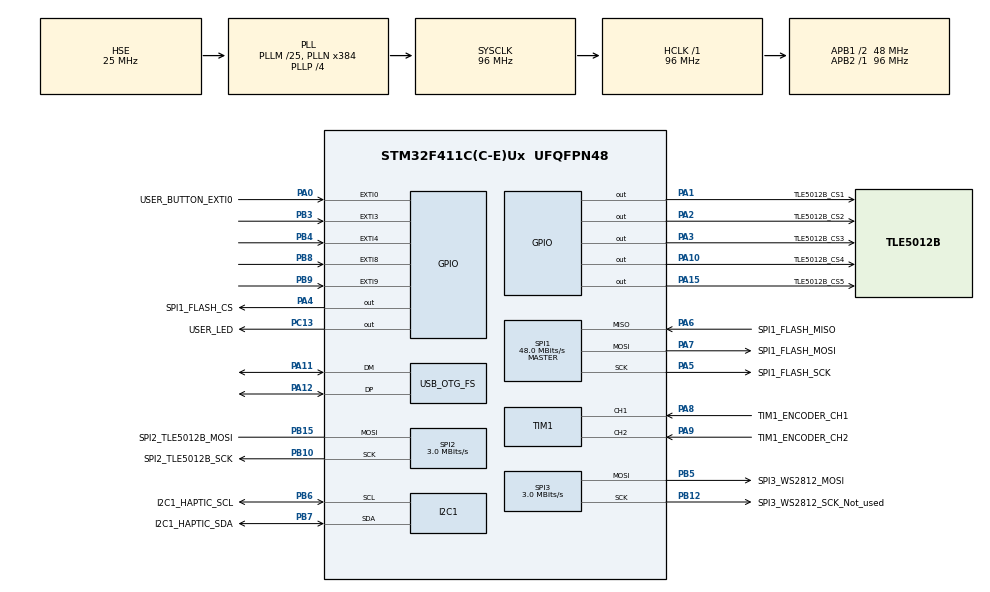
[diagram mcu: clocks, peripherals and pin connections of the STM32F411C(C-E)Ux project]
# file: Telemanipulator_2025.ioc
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Dma.Request0=SPI3_TX
Dma.SPI3_TX.0.Direction=DMA_MEMORY_TO_PERIPH
Dma.SPI3_TX.0.FIFOMode=DMA_FIFOMODE_DISABLE
Dma.SPI3_TX.0.Instance=DMA1_Stream5
Dma.SPI3_TX.0.MemDataAlignment=DMA_MDATAALIGN_BYTE
Dma.SPI3_TX.0.MemInc=DMA_MINC_ENABLE
Dma.SPI3_TX.0.Mode=DMA_NORMAL
Dma.SPI3_TX.0.PeriphDataAlignment=DMA_PDATAALIGN_BYTE
Dma.SPI3_TX.0.PeriphInc=DMA_PINC_DISABLE
Dma.SPI3_TX.0.Priority=DMA_PRIORITY_HIGH
FREERTOS.Tasks01=defaultTask,24,128,StartDefaultTask,Default,NULL,Dynamic,NULL,NULL;hapticTask,24,128,StartHapticTask,Default,NULL,Dynamic,NULL,NULL;commTask,24,128,StartCommTask,Default,NULL,Dynamic,NULL,NULL;sensorTask,24,128,StartSensorTask,Default,NULL,Dynamic,NULL,NULL;ledTask,32,128,StartLedTask,Default,NULL,Dynamic,NULL,NULL
FREERTOS.configUSE_NEWLIB_REENTRANT=1
Mcu.Family=STM32F4
Mcu.Name=STM32F411C(C-E)Ux
Mcu.Package=UFQFPN48
NVIC.DMA1_Stream5_IRQn=true\:5\:0\:false\:false\:true\:true\:false\:true\:true
NVIC.EXTI0_IRQn=true\:5\:0\:false\:false\:true\:true\:true\:true\:true
NVIC.EXTI3_IRQn=true\:5\:0\:false\:false\:true\:true\:true\:true\:true
NVIC.EXTI4_IRQn=true\:5\:0\:false\:false\:true\:true\:true\:true\:true
NVIC.EXTI9_5_IRQn=true\:5\:0\:false\:false\:true\:true\:true\:true\:true
NVIC.OTG_FS_IRQn=true\:5\:0\:false\:false\:true\:true\:false\:true\:true
NVIC.PriorityGroup=NVIC_PRIORITYGROUP_4
NVIC.TIM1_TRG_COM_TIM11_IRQn=true\:15\:0\:false\:false\:true\:false\:false\:true\:true
NVIC.TimeBase=TIM1_TRG_COM_TIM11_IRQn
NVIC.TimeBaseIP=TIM11
PA0-WKUP.GPIO_Label=USER_BUTTON_EXTI0
PA0-WKUP.GPIO_PuPd=GPIO_PULLUP
PA0-WKUP.Signal=GPXTI0
PA1.GPIO_Label=TLE5012B_CS1
PA1.Signal=GPIO_Output
PA10.GPIO_Label=TLE5012B_CS4
PA10.Signal=GPIO_Output
PA11.Mode=Device_Only
PA11.Signal=USB_OTG_FS_DM
PA12.Mode=Device_Only
PA12.Signal=USB_OTG_FS_DP
PA13.Mode=Serial_Wire
PA13.Signal=SYS_JTMS-SWDIO
PA14.Mode=Serial_Wire
PA14.Signal=SYS_JTCK-SWCLK
PA15.GPIO_Label=TLE5012B_CS5
PA15.Signal=GPIO_Output
PA2.GPIO_Label=TLE5012B_CS2
PA2.Signal=GPIO_Output
PA3.GPIO_Label=TLE5012B_CS3
PA3.Signal=GPIO_Output
PA4.GPIO_Label=SPI1_FLASH_CS
PA4.Signal=GPIO_Output
PA5.GPIO_Label=SPI1_FLASH_SCK
PA5.Mode=Full_Duplex_Master
PA5.Signal=SPI1_SCK
PA6.GPIO_Label=SPI1_FLASH_MISO
PA6.Mode=Full_Duplex_Master
PA6.Signal=SPI1_MISO
PA7.GPIO_Label=SPI1_FLASH_MOSI
PA7.Mode=Full_Duplex_Master
PA7.Signal=SPI1_MOSI
PA8.GPIO_Label=TIM1_ENCODER_CH1
PA8.GPIO_PuPd=GPIO_PULLUP
PA8.Signal=S_TIM1_CH1
PA9.GPIO_Label=TIM1_ENCODER_CH2
PA9.GPIO_PuPd=GPIO_PULLUP
PA9.Signal=S_TIM1_CH2
PB10.GPIO_Label=SPI2_TLE5012B_SCK
PB10.Mode=Simplex_Bidirectional_Master
PB10.Signal=SPI2_SCK
PB12.GPIO_Label=SPI3_WS2812_SCK_Not_used
PB12.Mode=TX_Only_Simplex_Unidirect_Master
PB12.Signal=SPI3_SCK
PB15.GPIO_Label=SPI2_TLE5012B_MOSI
PB15.Mode=Simplex_Bidirectional_Master
PB15.Signal=SPI2_MOSI
PB3.GPIO_ModeDefaultEXTI=GPIO_MODE_IT_FALLING
PB3.GPIO_PuPd=GPIO_PULLUP
PB3.Signal=GPXTI3
PB4.GPIO_ModeDefaultEXTI=GPIO_MODE_IT_FALLING
PB4.GPIO_PuPd=GPIO_PULLUP
PB4.Signal=GPXTI4
PB5.GPIO_Label=SPI3_WS2812_MOSI
PB5.Mode=TX_Only_Simplex_Unidirect_Master
PB5.Signal=SPI3_MOSI
PB6.GPIO_Label=I2C1_HAPTIC_SCL
PB6.Mode=I2C
PB6.Signal=I2C1_SCL
PB7.GPIO_Label=I2C1_HAPTIC_SDA
PB7.Mode=I2C
PB7.Signal=I2C1_SDA
PB8.GPIO_ModeDefaultEXTI=GPIO_MODE_IT_FALLING
PB8.GPIO_PuPd=GPIO_PULLUP
PB8.Signal=GPXTI8
PB9.GPIO_ModeDefaultEXTI=GPIO_MODE_IT_FALLING
PB9.GPIO_PuPd=GPIO_PULLUP
PB9.Signal=GPXTI9
PC13-ANTI_TAMP.GPIO_Label=USER_LED
PC13-ANTI_TAMP.Signal=GPIO_Output
PC14-OSC32_IN.Mode=LSE-External-Oscillator
PC14-OSC32_IN.Signal=RCC_OSC32_IN
PC15-OSC32_OUT.Mode=LSE-External-Oscillator
PC15-OSC32_OUT.Signal=RCC_OSC32_OUT
PH0\ -\ OSC_IN.Mode=HSE-External-Oscillator
PH0\ -\ OSC_IN.Signal=RCC_OSC_IN
PH1\ -\ OSC_OUT.Mode=HSE-External-Oscillator
PH1\ -\ OSC_OUT.Signal=RCC_OSC_OUT
ProjectManager.HeapSize=0x400
ProjectManager.StackSize=0x800
ProjectManager.TargetToolchain=STM32CubeIDE
RCC.48MHZClocksFreq_Value=48000000
RCC.AHBFreq_Value=96000000
RCC.APB1CLKDivider=RCC_HCLK_DIV2
RCC.APB1Freq_Value=48000000
RCC.APB1TimFreq_Value=96000000
RCC.APB2Freq_Value=96000000
RCC.APB2TimFreq_Value=96000000
RCC.CortexFreq_Value=96000000
RCC.HCLKFreq_Value=96000000
RCC.HSE_VALUE=25000000
RCC.HSI_VALUE=16000000
RCC.PLLM=25
RCC.PLLN=384
RCC.PLLP=RCC_PLLP_DIV4
RCC.PLLQ=8
RCC.RCC_RTC_Clock_Source=RCC_RTCCLKSOURCE_LSE
RCC.RCC_RTC_Clock_SourceVirtual=RCC_RTCCLKSOURCE_LSE
RCC.SYSCLKFreq_VALUE=96000000
RCC.SYSCLKSource=RCC_SYSCLKSOURCE_PLLCLK
RCC.VCOOutputFreq_Value=384000000
SH.S_TIM1_CH1.0=TIM1_CH1,Encoder_Interface
SH.S_TIM1_CH2.0=TIM1_CH2,Encoder_Interface
SPI1.BaudRatePrescaler=SPI_BAUDRATEPRESCALER_2
SPI1.CalculateBaudRate=48.0 MBits/s
SPI1.Direction=SPI_DIRECTION_2LINES
SPI1.Mode=SPI_MODE_MASTER
SPI1.VirtualType=VM_MASTER
SPI2.BaudRatePrescaler=SPI_BAUDRATEPRESCALER_16
SPI2.CLKPhase=SPI_PHASE_2EDGE
SPI2.CalculateBaudRate=3.0 MBits/s
SPI2.DataSize=SPI_DATASIZE_16BIT
SPI2.Direction=SPI_DIRECTION_1LINE
SPI2.Mode=SPI_MODE_MASTER
SPI2.VirtualType=VM_MASTER
SPI3.BaudRatePrescaler=SPI_BAUDRATEPRESCALER_16
SPI3.CalculateBaudRate=3.0 MBits/s
SPI3.Direction=SPI_DIRECTION_2LINES
SPI3.Mode=SPI_MODE_MASTER
SPI3.VirtualType=VM_MASTER
TIM1.EncoderMode=TIM_ENCODERMODE_TI12
TIM1.IC1Filter=3
TIM1.IC2Filter=3
USB_DEVICE.APP_RX_DATA_SIZE=1024
USB_DEVICE.APP_TX_DATA_SIZE=1024
USB_DEVICE.CLASS_NAME_FS=CDC
USB_DEVICE.VirtualMode=Cdc
USB_DEVICE.VirtualModeFS=Cdc_FS
USB_OTG_FS.VirtualMode=Device_Only
VP_FREERTOS_VS_CMSIS_V2.Mode=CMSIS_V2
VP_RTC_VS_RTC_Activate.Mode=RTC_Enabled
VP_SYS_VS_tim11.Mode=TIM11
VP_USB_DEVICE_VS_USB_DEVICE_CDC_FS.Mode=CDC_FS
board=custom

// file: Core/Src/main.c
/* USER CODE BEGIN Header */
/**
  ******************************************************************************
  * @file           : main.c
  * @brief          : Main program body
  ******************************************************************************
  * @attention
  *
  * Copyright (c) 2025 STMicroelectronics.
  * All rights reserved.
  *
  * This software is licensed under terms that can be found in the LICENSE file
  * in the root directory of this software component.
  * If no LICENSE file comes with this software, it is provided AS-IS.
  *
  ******************************************************************************
  */
/* USER CODE END Header */
#include "main.h"
#include "cmsis_os.h"
#include "usb_device.h"

/* USER CODE BEGIN Includes */
#include <stdbool.h>
#include <math.h>
#include "usbd_cdc_if.h"
#include "WS2812_Lib.h"
#include "DTek_TLE5012B.h"
#include "drv2605l.h"
/* USER CODE END Includes */

I2C_HandleTypeDef hi2c1;

RTC_HandleTypeDef hrtc;

SPI_HandleTypeDef hspi1;
SPI_HandleTypeDef hspi2;
SPI_HandleTypeDef hspi3;
DMA_HandleTypeDef hdma_spi3_tx;

TIM_HandleTypeDef htim1;

/* Definitions for defaultTask */
osThreadId_t defaultTaskHandle;
const osThreadAttr_t defaultTask_attributes = {
  .name = "defaultTask",
  .stack_size = 128 * 4,
  .priority = (osPriority_t) osPriorityNormal,
};
/* Definitions for hapticTask */
osThreadId_t hapticTaskHandle;
const osThreadAttr_t hapticTask_attributes = {
  .name = "hapticTask",
  .stack_size = 128 * 4,
  .priority = (osPriority_t) osPriorityNormal,
};
/* Definitions for commTask */
osThreadId_t commTaskHandle;
const osThreadAttr_t commTask_attributes = {
  .name = "commTask",
  .stack_size = 128 * 4,
  .priority = (osPriority_t) osPriorityNormal,
};
/* Definitions for sensorTask */
osThreadId_t sensorTaskHandle;
const osThreadAttr_t sensorTask_attributes = {
  .name = "sensorTask",
  .stack_size = 128 * 4,
  .priority = (osPriority_t) osPriorityNormal,
};
/* Definitions for ledTask */
osThreadId_t ledTaskHandle;
const osThreadAttr_t ledTask_attributes = {
  .name = "ledTask",
  .stack_size = 128 * 4,
  .priority = (osPriority_t) osPriorityAboveNormal,
};
/* USER CODE BEGIN PV */
char txBuf[APP_TX_DATA_SIZE];
char rxBuf[APP_RX_DATA_SIZE];
uint8_t receiveState = 0;
uint8_t ringLedMode = 0;

// Sensor communication
errorTypes checkError = NO_ERROR;
uint16_t errorCounter = 0;

// Joint angles
static double angle1_raw = 0.0;
static double angle2_raw = 0.0;
static double angle3_raw = 0.0;
static double angle4_raw = 0.0;
static double angle5_raw = 0.0;

static double angle1_temp = 0.0;
static double angle2_temp = 0.0;
static double angle3_temp = 0.0;
static double angle4_temp = 0.0;
static double angle5_temp = 0.0;

static double angle1 = 0.0;
static double angle2 = 0.0;
static double angle3 = 0.0;
static double angle4 = 0.0;
static double angle5 = 0.0;

static double offset1 = 0.4;
static double offset2 = 106.15;
static double offset3 = -160.9+90;
static double offset4 = -84.9;
static double offset5 = 0.73;

float tcp_x = 0.0;
float tcp_z = 0.0;

int16_t rawEncoder = 0;
int16_t rawEncoderPrev = 0;
static volatile uint32_t encoder_timestamp = 0;

static bool isConnected = false;

static uint8_t status_flag = 0; // 0: not connected, 1: control inactive 2: control active

static volatile uint32_t comm_timestamp = 0;
static volatile uint32_t comm_timeout = 1000; // ms

static uint8_t button1 = 0;
static uint8_t button2 = 0;
static uint8_t button3 = 0;
static uint8_t button4 = 0;

static int8_t speed = 100;

/* USER CODE END PV */

void SystemClock_Config(void);
static void MX_GPIO_Init(void);
static void MX_DMA_Init(void);
static void MX_I2C1_Init(void);
static void MX_RTC_Init(void);
static void MX_SPI1_Init(void);
static void MX_SPI2_Init(void);
static void MX_SPI3_Init(void);
static void MX_TIM1_Init(void);
void StartDefaultTask(void *argument);
void StartHapticTask(void *argument);
void StartCommTask(void *argument);
void StartSensorTask(void *argument);
void StartLedTask(void *argument);

int main(void)
{

  /* MCU Configuration--------------------------------------------------------*/

  /* Reset of all peripherals, Initializes the Flash interface and the Systick. */
  HAL_Init();

  /* Configure the system clock */
  SystemClock_Config();

  /* Initialize all configured peripherals */
  MX_GPIO_Init();
  MX_DMA_Init();
  MX_I2C1_Init();
  MX_RTC_Init();
  MX_SPI1_Init();
  MX_SPI2_Init();
  MX_SPI3_Init();
  MX_TIM1_Init();

  /* Init scheduler */
  osKernelInitialize();

  /* Create the thread(s) */
  /* creation of defaultTask */
  defaultTaskHandle = osThreadNew(StartDefaultTask, NULL, &defaultTask_attributes);

  /* creation of hapticTask */
  hapticTaskHandle = osThreadNew(StartHapticTask, NULL, &hapticTask_attributes);

  /* creation of commTask */
  commTaskHandle = osThreadNew(StartCommTask, NULL, &commTask_attributes);

  /* creation of sensorTask */
  sensorTaskHandle = osThreadNew(StartSensorTask, NULL, &sensorTask_attributes);

  /* creation of ledTask */
  ledTaskHandle = osThreadNew(StartLedTask, NULL, &ledTask_attributes);

  /* Start scheduler */
  osKernelStart();

  /* We should never get here as control is now taken by the scheduler */

  /* Infinite loop */
  while (1)
  {

  }
}

void SystemClock_Config(void)
{
  RCC_OscInitTypeDef RCC_OscInitStruct = {0};
  RCC_ClkInitTypeDef RCC_ClkInitStruct = {0};

  /** Configure the main internal regulator output voltage
  */
  __HAL_RCC_PWR_CLK_ENABLE();
  __HAL_PWR_VOLTAGESCALING_CONFIG(PWR_REGULATOR_VOLTAGE_SCALE1);

  /** Initializes the RCC Oscillators according to the specified parameters
  * in the RCC_OscInitTypeDef structure.
  */
  RCC_OscInitStruct.OscillatorType = RCC_OSCILLATORTYPE_HSE|RCC_OSCILLATORTYPE_LSE;
  RCC_OscInitStruct.HSEState = RCC_HSE_ON;
  RCC_OscInitStruct.LSEState = RCC_LSE_ON;
  RCC_OscInitStruct.PLL.PLLState = RCC_PLL_ON;
  RCC_OscInitStruct.PLL.PLLSource = RCC_PLLSOURCE_HSE;
  RCC_OscInitStruct.PLL.PLLM = 25;
  RCC_OscInitStruct.PLL.PLLN = 384;
  RCC_OscInitStruct.PLL.PLLP = RCC_PLLP_DIV4;
  RCC_OscInitStruct.PLL.PLLQ = 8;
  if (HAL_RCC_OscConfig(&RCC_OscInitStruct) != HAL_OK)
  {
    Error_Handler();
  }

  /** Initializes the CPU, AHB and APB buses clocks
  */
  RCC_ClkInitStruct.ClockType = RCC_CLOCKTYPE_HCLK|RCC_CLOCKTYPE_SYSCLK
                              |RCC_CLOCKTYPE_PCLK1|RCC_CLOCKTYPE_PCLK2;
  RCC_ClkInitStruct.SYSCLKSource = RCC_SYSCLKSOURCE_PLLCLK;
  RCC_ClkInitStruct.AHBCLKDivider = RCC_SYSCLK_DIV1;
  RCC_ClkInitStruct.APB1CLKDivider = RCC_HCLK_DIV2;
  RCC_ClkInitStruct.APB2CLKDivider = RCC_HCLK_DIV1;

  if (HAL_RCC_ClockConfig(&RCC_ClkInitStruct, FLASH_LATENCY_3) != HAL_OK)
  {
    Error_Handler();
  }
}

static void MX_I2C1_Init(void)
{

  hi2c1.Instance = I2C1;
  hi2c1.Init.ClockSpeed = 100000;
  hi2c1.Init.DutyCycle = I2C_DUTYCYCLE_2;
  hi2c1.Init.OwnAddress1 = 0;
  hi2c1.Init.AddressingMode = I2C_ADDRESSINGMODE_7BIT;
  hi2c1.Init.DualAddressMode = I2C_DUALADDRESS_DISABLE;
  hi2c1.Init.OwnAddress2 = 0;
  hi2c1.Init.GeneralCallMode = I2C_GENERALCALL_DISABLE;
  hi2c1.Init.NoStretchMode = I2C_NOSTRETCH_DISABLE;
  if (HAL_I2C_Init(&hi2c1) != HAL_OK)
  {
    Error_Handler();
  }

}

static void MX_RTC_Init(void)
{

  /** Initialize RTC Only
  */
  hrtc.Instance = RTC;
  hrtc.Init.HourFormat = RTC_HOURFORMAT_24;
  hrtc.Init.AsynchPrediv = 127;
  hrtc.Init.SynchPrediv = 255;
  hrtc.Init.OutPut = RTC_OUTPUT_DISABLE;
  hrtc.Init.OutPutPolarity = RTC_OUTPUT_POLARITY_HIGH;
  hrtc.Init.OutPutType = RTC_OUTPUT_TYPE_OPENDRAIN;
  if (HAL_RTC_Init(&hrtc) != HAL_OK)
  {
    Error_Handler();
  }

}

static void MX_SPI1_Init(void)
{

  /* SPI1 parameter configuration*/
  hspi1.Instance = SPI1;
  hspi1.Init.Mode = SPI_MODE_MASTER;
  hspi1.Init.Direction = SPI_DIRECTION_2LINES;
  hspi1.Init.DataSize = SPI_DATASIZE_8BIT;
  hspi1.Init.CLKPolarity = SPI_POLARITY_LOW;
  hspi1.Init.CLKPhase = SPI_PHASE_1EDGE;
  hspi1.Init.NSS = SPI_NSS_SOFT;
  hspi1.Init.BaudRatePrescaler = SPI_BAUDRATEPRESCALER_2;
  hspi1.Init.FirstBit = SPI_FIRSTBIT_MSB;
  hspi1.Init.TIMode = SPI_TIMODE_DISABLE;
  hspi1.Init.CRCCalculation = SPI_CRCCALCULATION_DISABLE;
  hspi1.Init.CRCPolynomial = 10;
  if (HAL_SPI_Init(&hspi1) != HAL_OK)
  {
    Error_Handler();
  }

}

static void MX_SPI2_Init(void)
{

  /* SPI2 parameter configuration*/
  hspi2.Instance = SPI2;
  hspi2.Init.Mode = SPI_MODE_MASTER;
  hspi2.Init.Direction = SPI_DIRECTION_1LINE;
  hspi2.Init.DataSize = SPI_DATASIZE_16BIT;
  hspi2.Init.CLKPolarity = SPI_POLARITY_LOW;
  hspi2.Init.CLKPhase = SPI_PHASE_2EDGE;
  hspi2.Init.NSS = SPI_NSS_SOFT;
  hspi2.Init.BaudRatePrescaler = SPI_BAUDRATEPRESCALER_16;
  hspi2.Init.FirstBit = SPI_FIRSTBIT_MSB;
  hspi2.Init.TIMode = SPI_TIMODE_DISABLE;
  hspi2.Init.CRCCalculation = SPI_CRCCALCULATION_DISABLE;
  hspi2.Init.CRCPolynomial = 10;
  if (HAL_SPI_Init(&hspi2) != HAL_OK)
  {
    Error_Handler();
  }

}

static void MX_SPI3_Init(void)
{

  /* SPI3 parameter configuration*/
  hspi3.Instance = SPI3;
  hspi3.Init.Mode = SPI_MODE_MASTER;
  hspi3.Init.Direction = SPI_DIRECTION_2LINES;
  hspi3.Init.DataSize = SPI_DATASIZE_8BIT;
  hspi3.Init.CLKPolarity = SPI_POLARITY_LOW;
  hspi3.Init.CLKPhase = SPI_PHASE_1EDGE;
  hspi3.Init.NSS = SPI_NSS_SOFT;
  hspi3.Init.BaudRatePrescaler = SPI_BAUDRATEPRESCALER_16;
  hspi3.Init.FirstBit = SPI_FIRSTBIT_MSB;
  hspi3.Init.TIMode = SPI_TIMODE_DISABLE;
  hspi3.Init.CRCCalculation = SPI_CRCCALCULATION_DISABLE;
  hspi3.Init.CRCPolynomial = 10;
  if (HAL_SPI_Init(&hspi3) != HAL_OK)
  {
    Error_Handler();
  }

}

static void MX_TIM1_Init(void)
{

  TIM_Encoder_InitTypeDef sConfig = {0};
  TIM_MasterConfigTypeDef sMasterConfig = {0};

  htim1.Instance = TIM1;
  htim1.Init.Prescaler = 0;
  htim1.Init.CounterMode = TIM_COUNTERMODE_UP;
  htim1.Init.Period = 65535;
  htim1.Init.ClockDivision = TIM_CLOCKDIVISION_DIV1;
  htim1.Init.RepetitionCounter = 0;
  htim1.Init.AutoReloadPreload = TIM_AUTORELOAD_PRELOAD_DISABLE;
  sConfig.EncoderMode = TIM_ENCODERMODE_TI12;
  sConfig.IC1Polarity = TIM_ICPOLARITY_RISING;
  sConfig.IC1Selection = TIM_ICSELECTION_DIRECTTI;
  sConfig.IC1Prescaler = TIM_ICPSC_DIV1;
  sConfig.IC1Filter = 3;
  sConfig.IC2Polarity = TIM_ICPOLARITY_RISING;
  sConfig.IC2Selection = TIM_ICSELECTION_DIRECTTI;
  sConfig.IC2Prescaler = TIM_ICPSC_DIV1;
  sConfig.IC2Filter = 3;
  if (HAL_TIM_Encoder_Init(&htim1, &sConfig) != HAL_OK)
  {
    Error_Handler();
  }
  sMasterConfig.MasterOutputTrigger = TIM_TRGO_RESET;
  sMasterConfig.MasterSlaveMode = TIM_MASTERSLAVEMODE_DISABLE;
  if (HAL_TIMEx_MasterConfigSynchronization(&htim1, &sMasterConfig) != HAL_OK)
  {
    Error_Handler();
  }

}

static void MX_DMA_Init(void)
{

  /* DMA controller clock enable */
  __HAL_RCC_DMA1_CLK_ENABLE();

  /* DMA interrupt init */
  /* DMA1_Stream5_IRQn interrupt configuration */
  HAL_NVIC_SetPriority(DMA1_Stream5_IRQn, 5, 0);
  HAL_NVIC_EnableIRQ(DMA1_Stream5_IRQn);

}

static void MX_GPIO_Init(void)
{
  GPIO_InitTypeDef GPIO_InitStruct = {0};

  /* GPIO Ports Clock Enable */
  __HAL_RCC_GPIOC_CLK_ENABLE();
  __HAL_RCC_GPIOH_CLK_ENABLE();
  __HAL_RCC_GPIOA_CLK_ENABLE();
  __HAL_RCC_GPIOB_CLK_ENABLE();

  /*Configure GPIO pin Output Level */
  HAL_GPIO_WritePin(USER_LED_GPIO_Port, USER_LED_Pin, GPIO_PIN_RESET);

  /*Configure GPIO pin Output Level */
  HAL_GPIO_WritePin(GPIOA, TLE5012B_CS1_Pin|TLE5012B_CS2_Pin|TLE5012B_CS3_Pin|SPI1_FLASH_CS_Pin
                          |TLE5012B_CS4_Pin|TLE5012B_CS5_Pin, GPIO_PIN_RESET);

  /*Configure GPIO pin : USER_LED_Pin */
  GPIO_InitStruct.Pin = USER_LED_Pin;
  GPIO_InitStruct.Mode = GPIO_MODE_OUTPUT_PP;
  GPIO_InitStruct.Pull = GPIO_NOPULL;
  GPIO_InitStruct.Speed = GPIO_SPEED_FREQ_LOW;
  HAL_GPIO_Init(USER_LED_GPIO_Port, &GPIO_InitStruct);

  /*Configure GPIO pin : USER_BUTTON_EXTI0_Pin */
  GPIO_InitStruct.Pin = USER_BUTTON_EXTI0_Pin;
  GPIO_InitStruct.Mode = GPIO_MODE_IT_RISING;
  GPIO_InitStruct.Pull = GPIO_PULLUP;
  HAL_GPIO_Init(USER_BUTTON_EXTI0_GPIO_Port, &GPIO_InitStruct);

  /*Configure GPIO pins : TLE5012B_CS1_Pin TLE5012B_CS2_Pin TLE5012B_CS3_Pin SPI1_FLASH_CS_Pin
                           TLE5012B_CS4_Pin TLE5012B_CS5_Pin */
  GPIO_InitStruct.Pin = TLE5012B_CS1_Pin|TLE5012B_CS2_Pin|TLE5012B_CS3_Pin|SPI1_FLASH_CS_Pin
                          |TLE5012B_CS4_Pin|TLE5012B_CS5_Pin;
  GPIO_InitStruct.Mode = GPIO_MODE_OUTPUT_PP;
  GPIO_InitStruct.Pull = GPIO_NOPULL;
  GPIO_InitStruct.Speed = GPIO_SPEED_FREQ_LOW;
  HAL_GPIO_Init(GPIOA, &GPIO_InitStruct);

  /*Configure GPIO pins : PB3 PB4 PB8 PB9 */
  GPIO_InitStruct.Pin = GPIO_PIN_3|GPIO_PIN_4|GPIO_PIN_8|GPIO_PIN_9;
  GPIO_InitStruct.Mode = GPIO_MODE_IT_FALLING;
  GPIO_InitStruct.Pull = GPIO_PULLUP;
  HAL_GPIO_Init(GPIOB, &GPIO_InitStruct);

  /* EXTI interrupt init*/
  HAL_NVIC_SetPriority(EXTI0_IRQn, 5, 0);
  HAL_NVIC_EnableIRQ(EXTI0_IRQn);

  HAL_NVIC_SetPriority(EXTI3_IRQn, 5, 0);
  HAL_NVIC_EnableIRQ(EXTI3_IRQn);

  HAL_NVIC_SetPriority(EXTI4_IRQn, 5, 0);
  HAL_NVIC_EnableIRQ(EXTI4_IRQn);

  HAL_NVIC_SetPriority(EXTI9_5_IRQn, 5, 0);
  HAL_NVIC_EnableIRQ(EXTI9_5_IRQn);

}

/* USER CODE BEGIN 4 */
uint16_t SizeofCharArray(char *ptr)
{
  /* Local variables */
  uint16_t len = 0;

  /* Search until end char */
  while (ptr[len] != '\0') {
    len++;
  }
  return len;
}

void HAL_GPIO_EXTI_Callback(uint16_t GPIO_Pin) {
	switch (GPIO_Pin) {
	case GPIO_PIN_0:
		//ringLedMode = (ringLedMode+1) % 4;
		break;
	case GPIO_PIN_1:
		break;
	}
}

/* USER CODE END 4 */

void StartDefaultTask(void *argument)
{
  /* init code for USB_DEVICE */
  MX_USB_DEVICE_Init();
  /* USER CODE BEGIN 5 */
  uint8_t i = 0;
  HAL_GPIO_TogglePin(GPIOC, GPIO_PIN_13);
  /* Infinite loop */
  for(;;)
  {
	  osDelay(50);
	  i++;
	  if ((i == 6) || (i == 10) || (i == 16) || (i == 20)){
		  HAL_GPIO_TogglePin(GPIOC, GPIO_PIN_13);
	  }
	  if (i==30) {
		  i = 0;
	  }

	  if (HAL_GetTick() - comm_timestamp > comm_timeout) {
		  isConnected = false;
		  status_flag = 0; // fallback to 0 status == not connected signal on LEDs
	  }
	  else {
		  isConnected = true;
	  }
  }
  /* USER CODE END 5 */
}

void StartHapticTask(void *argument)
{
  /* USER CODE BEGIN StartHapticTask */
  // Initialize as ERM with library 1
  if (DRV2605_Init_ERM(&hi2c1, DRV2605_LIB_ERM) != HAL_OK) {
	// handle error (check wiring, power, pull-ups, I2C timing)
	asm("NOP");
  }
  uint8_t status_flag_prev = 0;
  uint8_t start_up_flag = 1;
  /* Infinite loop */
  for(;;)
  {
    osDelay(50);
    if (status_flag != status_flag_prev || start_up_flag == 1) {
        DRV2605_SetEffectSlot(&hi2c1, 0, 15);
        DRV2605_SetEffectSlot(&hi2c1, 1, 0x00); // terminator
        DRV2605_Play(&hi2c1);
        start_up_flag = 0;
    }
    status_flag_prev = status_flag;
  }
  /* USER CODE END StartHapticTask */
}

void StartCommTask(void *argument)
{
  /* USER CODE BEGIN StartCommTask */
  uint16_t Len = 0;
  /* Infinite loop */
  for(;;)
  {
	  if (receiveState == 1){
		  if ((rxBuf[0] == 'K') && (rxBuf[1] == 'A') && (rxBuf[2] == '\0')){
			sprintf(txBuf, "OK;%.100s\r\n", rxBuf);
			Len = SizeofCharArray((char*)txBuf);
			CDC_Transmit_FS((uint8_t*)txBuf, Len);
		  }
		  if ((rxBuf[0] == 'S') && (rxBuf[1] == 'T') && (rxBuf[3] == '\0')){
			char ch = rxBuf[2];
			  // Check if it's a digit between '1' and '9'
			  if (ch >= '1' && ch <= '9'){
				status_flag = ch - '0';
			  }
			  comm_timestamp = HAL_GetTick();
		  }
		  else{
			sprintf(txBuf, "ERR;%.100s\r\n", rxBuf);
			Len = SizeofCharArray((char*)txBuf);
			CDC_Transmit_FS((uint8_t*)txBuf, Len);
		  }
		  receiveState = 0;
	  }
	  if (isConnected) {

		  sprintf(txBuf, "ANG;%d;%d;%d;%d;%d;SPD;%d;BTN;%d;%d;%d;%d;END\n", (int)(angle1*100), (int)(angle2*100), (int)(angle3*100), (int)(angle4*100), (int)(angle5*100), speed, button1, button2, button3, button4);
		  Len = SizeofCharArray((char*)txBuf);
		  CDC_Transmit_FS((uint8_t*)txBuf, Len);
	  }
	  osDelay(10);
  }
  /* USER CODE END StartCommTask */
}

void StartSensorTask(void *argument)
{
  /* USER CODE BEGIN StartSensorTask */

  HAL_TIM_Encoder_Start(&htim1,TIM_CHANNEL_ALL);

  SPI_CS_Disable(1);
  SPI_CS_Disable(2);
  SPI_CS_Disable(3);
  SPI_CS_Disable(4);
  SPI_CS_Disable(5);

  checkError = NO_ERROR;
  checkError = readBlockCRC(1);
  if (checkError != NO_ERROR) errorCounter++;
  osDelay(1);

  checkError = NO_ERROR;
  checkError = readBlockCRC(2);
  if (checkError != NO_ERROR) errorCounter++;
  osDelay(1);

  checkError = NO_ERROR;
  checkError = readBlockCRC(3);
  if (checkError != NO_ERROR) errorCounter++;
  osDelay(1);

  checkError = NO_ERROR;
  checkError = readBlockCRC(4);
  if (checkError != NO_ERROR) errorCounter++;
  osDelay(1);

  checkError = NO_ERROR;
  checkError = readBlockCRC(5);
  if (checkError != NO_ERROR) errorCounter++;
  osDelay(1);

  // initialize variables so encoder change is not triggered at startup
  rawEncoder = TIM1->CNT;
  rawEncoderPrev = rawEncoder;
  encoder_timestamp = HAL_GetTick()-5000;

  /* Infinite loop */
  for(;;)
  {
	osDelay(10);

	rawEncoder = TIM1->CNT;

	if (rawEncoder != rawEncoderPrev) {
		encoder_timestamp = HAL_GetTick();
	}
	rawEncoderPrev = rawEncoder;

	if (rawEncoder > 0){
		speed = 100;
		__HAL_TIM_SET_COUNTER(&htim1, 0); // reset encoder counter
	}
	else if (rawEncoder < -100){
		speed = 0;
		__HAL_TIM_SET_COUNTER(&htim1, -100); // reset encoder counter
	}
	else {
		speed = 100 + rawEncoder;
	}

	checkError = NO_ERROR;
	checkError = getAngleValue(&angle1_raw,1);
	if (checkError != NO_ERROR) errorCounter++;
	HAL_Delay(1);

	checkError = NO_ERROR;
	checkError = getAngleValue(&angle2_raw,2);
	if (checkError != NO_ERROR) errorCounter++;
	HAL_Delay(1);

	checkError = NO_ERROR;
	checkError = getAngleValue(&angle3_raw,3);
	if (checkError != NO_ERROR) errorCounter++;
	HAL_Delay(1);

	checkError = NO_ERROR;
	checkError = getAngleValue(&angle4_raw,4);
	if (checkError != NO_ERROR) errorCounter++;
	HAL_Delay(1);

	checkError = NO_ERROR;
	checkError = getAngleValue(&angle5_raw,5);
	if (checkError != NO_ERROR) errorCounter++;

	// processing raw angles
	// ToDo: math should be cleaned up though...
	angle1_temp = angle1_raw - offset1;
	if (angle1_temp >= 0){
		angle1 = angle1_temp;
	}
	else{
		angle1 = angle1_temp;
	}

	angle2_temp = angle2_raw - offset2;
	if (angle2_temp >= 0){
		angle2 = angle2_temp;
	}
	else{
		angle2 = angle2_temp;
	}

	angle3_temp = angle3_raw - offset3;
	if (angle3_raw >= 45){
		angle3 = angle3_temp - 360;
	}
	else{
		angle3 = angle3_temp;
	}

	angle4_temp = -angle4_raw - offset4;
	if (angle4_raw >= -45){
		angle4 = angle4_temp;
	}
	else{
		angle4 = angle4_temp - 360;
	}

	angle5_temp = -angle5_raw - offset5;
	if (angle5_temp >= 0){
		angle5 = angle5_temp;
	}
	else{
		angle5 = angle5_temp;
	}

	if (HAL_GPIO_ReadPin(GPIOB, GPIO_PIN_3) == GPIO_PIN_RESET){
		button1 = 1;
	}
	else {
		button1 = 0;
	}

	if (HAL_GPIO_ReadPin(GPIOB, GPIO_PIN_4) == GPIO_PIN_RESET){
		button2 = 1;
	}
	else {
		button2 = 0;
	}

	if (HAL_GPIO_ReadPin(GPIOB, GPIO_PIN_8) == GPIO_PIN_RESET){
		button3 = 1;
	}
	else {
		button3 = 0;
	}

	if (HAL_GPIO_ReadPin(GPIOB, GPIO_PIN_9) == GPIO_PIN_RESET){
		button4 = 1;
	}
	else {
		button4 = 0;
	}

  }
  /* USER CODE END StartSensorTask */
}

void StartLedTask(void *argument)
{
  /* USER CODE BEGIN StartLedTask */
  uint16_t phase = 0;
  uint8_t brightness = 20;
  int8_t brightnessDir = 1;
  uint8_t maxBrightness = 100;
  uint8_t minBrightness = 1;
  /* Infinite loop */
  for(;;)
  {

	if (brightness > maxBrightness) {
		brightnessDir = -1;
	}
	else if (brightness < minBrightness) {
		brightnessDir = 1;
	}

	brightness = brightness + brightnessDir;

	ringLedMode = status_flag;

	if (HAL_GetTick() - encoder_timestamp < 2000) {
		WS2812_DisplayValue(speed, (WS2812_RGB_t){255,255,255},0);
		osDelay(19);
	}
	else {
		switch (ringLedMode) {
		case 0:
			osDelay(2);
			WS2812_ColorWheel_HSV(phase, 0);
			phase++;
			break;
		case 1:
			WS2812_All_RGB((WS2812_RGB_t){brightness,0,0},0);
			osDelay(19);
			break;
		case 2:
			WS2812_All_RGB((WS2812_RGB_t){0,brightness,0},0);
			osDelay(19);
			break;
		case 3:
			WS2812_All_RGB((WS2812_RGB_t){0,0,brightness},0);
			osDelay(19);
			break;
		case 4:
			WS2812_All_RGB((WS2812_RGB_t){brightness,brightness,brightness},0);
			osDelay(2);
			break;
		}
	}

	WS2812_Refresh();
	osDelay(1);

  }
  /* USER CODE END StartLedTask */
}

void HAL_TIM_PeriodElapsedCallback(TIM_HandleTypeDef *htim)
{
  if (htim->Instance == TIM11)
  {
    HAL_IncTick();
  }
}

void Error_Handler(void)
{
  __disable_irq();
  while (1)
  {
  }
}
